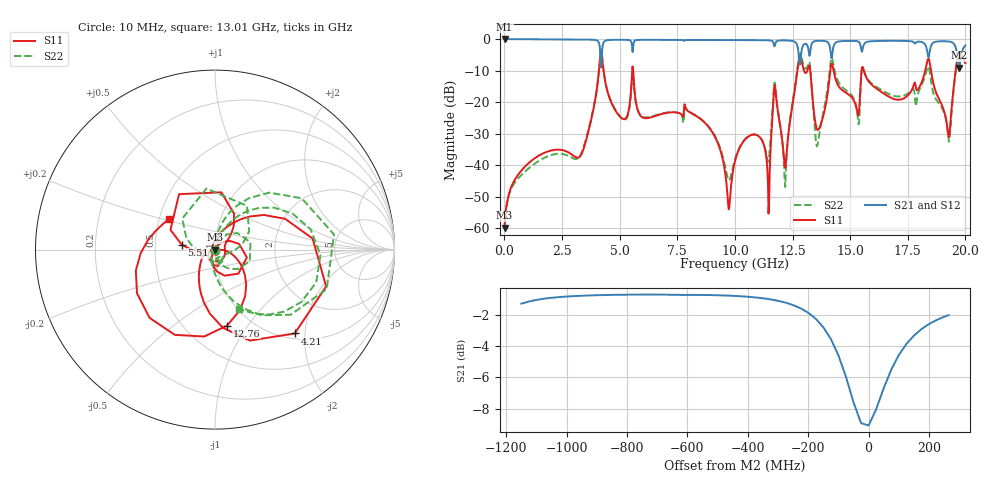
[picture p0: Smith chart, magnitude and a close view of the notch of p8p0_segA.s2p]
! Stitch-density study - 40 x 12 mm symmetric stripline, cut at x=20 mm
! Case: p8p0_segA
! Sweep: 10 MHz - 20 GHz, 25 MHz step, 4 cores
# GHz S MA R 50.000000
! Terminal data exported
! Port[1] = U1.PAD1.SIG
! Port[2] = U2.PAD1.SIG
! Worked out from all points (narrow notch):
!   801 points, 10 MHz to 20 GHz, reference 50 ohm
!   highest |S21| = -0.01 dB at 10 MHz (marker M1); lowest = -9.1 dB at 19.73 GHz (marker M2)
!   notch at M2: 8.7 dB deep, 194 MHz wide at half that depth
!   lowest |S11| = -59.9 dB at 10 MHz (marker M3), VSWR 1.00, Z = 50.1 + j0.0495 ohm
!   |S11| at or under -10 dB: start of sweep to 4.104 GHz; 5.586 GHz to 12.71 GHz (7.127 GHz wide, 77.9 % of centre); 15.59 GHz to 18.26 GHz (2.664 GHz wide, 15.7 % of centre)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
!   |S22| runs from -59.9 to -3.5 dB; largest |S21 - S12| = 0
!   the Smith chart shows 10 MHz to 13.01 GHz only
!   S11 on the Smith chart (normalised r, x): 10 MHz: 1.00, +0.00; 4.21 GHz: 1.11, -1.77; 5.51 GHz: 0.69, +0.04; 12.76 GHz: 0.78, -0.81; 13.01 GHz: 0.56, +0.21
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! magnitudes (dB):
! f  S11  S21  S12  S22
! 10 MHz  -59.9  0.0  0.0  -59.9
! 3.36 GHz  -36.3  -0.2  -0.2  -35.9
! 4.21 GHz  -3.8  -8.1  -8.1  -3.6
! 5.06 GHz  -25.0  -0.2  -0.2  -24.9
! 5.51 GHz  -14.6  -1.0  -1.0  -15.3
! 6.685 GHz  -24.1  -0.3  -0.3  -23.9
! 8.81 GHz  -27.5  -0.3  -0.3  -27.3
! 9.735 GHz  -54.1  -0.3  -0.3  -44.9
! 10.01 GHz  -38.7  -0.3  -0.3  -38.0
! 11.44 GHz  -45.5  -0.4  -0.4  -39.0
! 11.76 GHz  -16.2  -1.4  -1.4  -15.5
! 12.19 GHz  -40.9  -0.4  -0.4  -47.0
! 12.76 GHz  -7.4  -4.3  -4.3  -6.4
! 13.01 GHz  -10.3  -1.6  -1.6  -9.0
! 13.36 GHz  -18.1  -1.1  -1.1  -18.2
! 13.59 GHz  -28.9  -0.6  -0.6  -33.6
! 14.21 GHz  -7.8  -5.7  -5.7  -5.9
! 16.68 GHz  -18.3  -0.6  -0.6  -17.5
! 18.39 GHz  -6.2  -5.6  -5.6  -8.7
! 19.26 GHz  -30.6  -0.8  -0.8  -31.3
! 19.73 GHz  -4.2  -9.1  -9.1  -4.5
! 20 GHz  -7.6  -2.0  -2.0  -7.7
